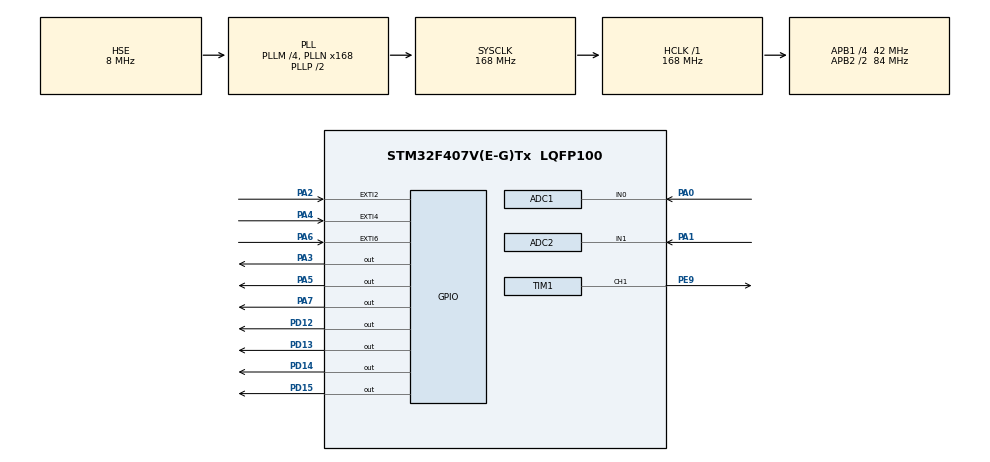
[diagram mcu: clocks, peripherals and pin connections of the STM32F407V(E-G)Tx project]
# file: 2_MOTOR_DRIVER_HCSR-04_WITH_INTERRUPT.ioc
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ADC1.Channel-0\#ChannelRegularConversion=ADC_CHANNEL_0
ADC1.NbrOfConversionFlag=1
ADC1.Rank-0\#ChannelRegularConversion=1
ADC1.SamplingTime-0\#ChannelRegularConversion=ADC_SAMPLETIME_3CYCLES
ADC1.master=1
ADC2.Channel-0\#ChannelRegularConversion=ADC_CHANNEL_1
ADC2.NbrOfConversionFlag=1
ADC2.Rank-0\#ChannelRegularConversion=1
ADC2.SamplingTime-0\#ChannelRegularConversion=ADC_SAMPLETIME_3CYCLES
Mcu.Family=STM32F4
Mcu.Name=STM32F407V(E-G)Tx
Mcu.Package=LQFP100
NVIC.EXTI4_IRQn=true\:1\:0\:true\:false\:true\:true\:true\:true
NVIC.EXTI9_5_IRQn=true\:0\:0\:false\:false\:true\:true\:true\:true
NVIC.PriorityGroup=NVIC_PRIORITYGROUP_4
PA0-WKUP.Signal=ADCx_IN0
PA1.Signal=ADCx_IN1
PA2.Signal=GPXTI2
PA3.Signal=GPIO_Output
PA4.GPIO_PuPd=GPIO_PULLDOWN
PA4.Signal=GPXTI4
PA5.Signal=GPIO_Output
PA6.GPIO_PuPd=GPIO_PULLDOWN
PA6.Signal=GPXTI6
PA7.Signal=GPIO_Output
PD12.GPIO_Speed=GPIO_SPEED_FREQ_VERY_HIGH
PD12.Signal=GPIO_Output
PD13.GPIO_Speed=GPIO_SPEED_FREQ_VERY_HIGH
PD13.Signal=GPIO_Output
PD14.GPIO_Speed=GPIO_SPEED_FREQ_VERY_HIGH
PD14.Signal=GPIO_Output
PD15.GPIO_Speed=GPIO_SPEED_FREQ_VERY_HIGH
PD15.Signal=GPIO_Output
PE9.GPIO_Speed=GPIO_SPEED_FREQ_VERY_HIGH
PE9.Signal=S_TIM1_CH1
PH0-OSC_IN.Mode=HSE-External-Oscillator
PH0-OSC_IN.Signal=RCC_OSC_IN
PH1-OSC_OUT.Mode=HSE-External-Oscillator
PH1-OSC_OUT.Signal=RCC_OSC_OUT
ProjectManager.HeapSize=0x200
ProjectManager.StackSize=0x400
ProjectManager.TargetToolchain=STM32CubeIDE
RCC.48MHZClocksFreq_Value=84000000
RCC.AHBFreq_Value=168000000
RCC.APB1CLKDivider=RCC_HCLK_DIV4
RCC.APB1Freq_Value=42000000
RCC.APB1TimFreq_Value=84000000
RCC.APB2CLKDivider=RCC_HCLK_DIV2
RCC.APB2Freq_Value=84000000
RCC.APB2TimFreq_Value=168000000
RCC.CortexFreq_Value=168000000
RCC.HCLKFreq_Value=168000000
RCC.HSE_VALUE=8000000
RCC.HSI_VALUE=16000000
RCC.LSE_VALUE=32768
RCC.PLLM=4
RCC.PLLN=168
RCC.PLLSourceVirtual=RCC_PLLSOURCE_HSE
RCC.SYSCLKFreq_VALUE=168000000
RCC.SYSCLKSource=RCC_SYSCLKSOURCE_PLLCLK
RCC.VCOOutputFreq_Value=336000000
SH.ADCx_IN0.0=ADC1_IN0,IN0
SH.ADCx_IN1.0=ADC2_IN1,IN1
SH.S_TIM1_CH1.0=TIM1_CH1,PWM Generation1 CH1
TIM1.Channel-PWM\ Generation1\ CH1=TIM_CHANNEL_1
TIM1.Period=999
TIM1.Prescaler=8399
board=custom

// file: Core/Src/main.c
/* USER CODE BEGIN Header */
/**
  ******************************************************************************
  * @file           : main.c
  * @brief          : Main program body
  ******************************************************************************
  * @attention
  *
  * Copyright (c) 2023 STMicroelectronics.
  * All rights reserved.
  *
  * This software is licensed under terms that can be found in the LICENSE file
  * in the root directory of this software component.
  * If no LICENSE file comes with this software, it is provided AS-IS.
  *
  ******************************************************************************
  */
/* USER CODE END Header */
#include "main.h"
#include "dwt_delay.h"

/* USER CODE BEGIN Includes */

uint32_t adc_value_1;
uint32_t pulse;

uint32_t adc_value_2;

uint32_t mytime_1;
uint16_t distance_1;

uint32_t mytime_2;
uint16_t distance_2;

uint32_t mytime_3;
uint16_t distance_3;

#define GND_MOT_1 GPIO_PIN_12
#define VCC_MOT_1 GPIO_PIN_13
#define VCC_MOT_2 GPIO_PIN_14
#define GND_MOT_2 GPIO_PIN_15

/* USER CODE END Includes */

ADC_HandleTypeDef hadc1;
ADC_HandleTypeDef hadc2;

TIM_HandleTypeDef htim1;

void SystemClock_Config(void);
static void MX_GPIO_Init(void);
static void MX_ADC1_Init(void);
static void MX_ADC2_Init(void);
static void MX_TIM1_Init(void);

/* USER CODE BEGIN 0 */

uint32_t read_hcsr04_1()
{

	uint32_t local_time_1=0;

	HAL_GPIO_WritePin(GPIOA, GPIO_PIN_5, ENABLE);
	DWT_Delay(10);
	HAL_GPIO_WritePin(GPIOA, GPIO_PIN_5, RESET);

	while(!HAL_GPIO_ReadPin(GPIOA,GPIO_PIN_4 ));

	while(HAL_GPIO_ReadPin(GPIOA, GPIO_PIN_4))
	{
		local_time_1++;
		DWT_Delay(1);

	}

	return local_time_1;

}
uint32_t read_hcsr04_2()
{

	uint32_t local_time_2=0;

	HAL_GPIO_WritePin(GPIOA, GPIO_PIN_7, ENABLE);
	DWT_Delay(10);
	HAL_GPIO_WritePin(GPIOA, GPIO_PIN_7, RESET);

	while(!HAL_GPIO_ReadPin(GPIOA,GPIO_PIN_6 ));

	while(HAL_GPIO_ReadPin(GPIOA, GPIO_PIN_6))
	{
		local_time_2++;
		DWT_Delay(1);

	}

	return local_time_2;

}
uint32_t read_hcsr04_3()
{

	uint32_t local_time_3=0;

	HAL_GPIO_WritePin(GPIOA, GPIO_PIN_3, ENABLE);
	DWT_Delay(10);
	HAL_GPIO_WritePin(GPIOA, GPIO_PIN_3, RESET);

	while(!HAL_GPIO_ReadPin(GPIOA,GPIO_PIN_2 ));

	while(HAL_GPIO_ReadPin(GPIOA, GPIO_PIN_2))
	{
		local_time_3++;
		DWT_Delay(1);

	}

	return local_time_3;

}

void ADC_Read_1()
{

	HAL_ADC_Start(&hadc1);

	if(HAL_ADC_PollForConversion(&hadc1, 10000)== HAL_OK)
	{

		adc_value_1 = HAL_ADC_GetValue(&hadc1);

	}

	HAL_ADC_Stop(&hadc1);

}

void ADC_Read_2()
{

	HAL_ADC_Start(&hadc2);

		if(HAL_ADC_PollForConversion(&hadc2, 10000)== HAL_OK)
		{

			adc_value_2 = HAL_ADC_GetValue(&hadc2);

		}

		HAL_ADC_Stop(&hadc2);

}

uint16_t map(int In, int Inmin, int Inmax, int Outmin, int Outmax)
{

	return (In-Inmin)*(Outmax-Outmin)/(Inmax-Inmin)+Outmin;
}

void Motor_Init()
{

	HAL_GPIO_WritePin(GPIOD, GPIO_PIN_12, GPIO_PIN_RESET);
	HAL_GPIO_WritePin(GPIOD, GPIO_PIN_13, GPIO_PIN_RESET);
	HAL_GPIO_WritePin(GPIOD, GPIO_PIN_15, GPIO_PIN_RESET);
	HAL_GPIO_WritePin(GPIOD, GPIO_PIN_14, GPIO_PIN_RESET);

}

void Stop_Motor()
{
	HAL_GPIO_WritePin(GPIOD, GPIO_PIN_12, GPIO_PIN_RESET);
	HAL_GPIO_WritePin(GPIOD, GPIO_PIN_13, GPIO_PIN_RESET);
	HAL_GPIO_WritePin(GPIOD, GPIO_PIN_15, GPIO_PIN_RESET);
	HAL_GPIO_WritePin(GPIOD, GPIO_PIN_14, GPIO_PIN_RESET);

}

void Backward_Motor_1()
{

	HAL_GPIO_WritePin(GPIOD, GPIO_PIN_12, GPIO_PIN_SET);
	HAL_GPIO_WritePin(GPIOD, GPIO_PIN_13, GPIO_PIN_RESET);
	HAL_GPIO_WritePin(GPIOD, GPIO_PIN_15, GPIO_PIN_RESET);
	HAL_GPIO_WritePin(GPIOD, GPIO_PIN_14, GPIO_PIN_RESET);

}

void Forward_Motor_1()
{
	HAL_GPIO_WritePin(GPIOD, GPIO_PIN_12, GPIO_PIN_RESET);
	HAL_GPIO_WritePin(GPIOD, GPIO_PIN_13, GPIO_PIN_SET);
	HAL_GPIO_WritePin(GPIOD, GPIO_PIN_15, GPIO_PIN_RESET);
	HAL_GPIO_WritePin(GPIOD, GPIO_PIN_14, GPIO_PIN_RESET);

}

void Backward_Motor_2()
{
	HAL_GPIO_WritePin(GPIOD, GPIO_PIN_12, GPIO_PIN_RESET);
	HAL_GPIO_WritePin(GPIOD, GPIO_PIN_13, GPIO_PIN_RESET);
	HAL_GPIO_WritePin(GPIOD, GPIO_PIN_15, GPIO_PIN_SET);
	HAL_GPIO_WritePin(GPIOD, GPIO_PIN_14, GPIO_PIN_RESET);

}

void Forward_Motor_2()
{
	HAL_GPIO_WritePin(GPIOD, GPIO_PIN_12, GPIO_PIN_RESET);
	HAL_GPIO_WritePin(GPIOD, GPIO_PIN_13, GPIO_PIN_RESET);
	HAL_GPIO_WritePin(GPIOD, GPIO_PIN_15, GPIO_PIN_RESET);
	HAL_GPIO_WritePin(GPIOD, GPIO_PIN_14, GPIO_PIN_SET);

}

void Backward_Motor_Both()
{
	HAL_GPIO_WritePin(GPIOD, GPIO_PIN_12, GPIO_PIN_SET);
	HAL_GPIO_WritePin(GPIOD, GPIO_PIN_13, GPIO_PIN_RESET);
	HAL_GPIO_WritePin(GPIOD, GPIO_PIN_15, GPIO_PIN_SET);
	HAL_GPIO_WritePin(GPIOD, GPIO_PIN_14, GPIO_PIN_RESET);

}

void Forward_Motor_Both()
{

	HAL_GPIO_WritePin(GPIOD, GPIO_PIN_12, GPIO_PIN_RESET);
	HAL_GPIO_WritePin(GPIOD, GPIO_PIN_13, GPIO_PIN_SET);
	HAL_GPIO_WritePin(GPIOD, GPIO_PIN_15, GPIO_PIN_RESET);
	HAL_GPIO_WritePin(GPIOD, GPIO_PIN_14, GPIO_PIN_SET);

}

/* USER CODE END 0 */

int main(void)
{

  /* MCU Configuration--------------------------------------------------------*/

  /* Reset of all peripherals, Initializes the Flash interface and the Systick. */
  HAL_Init();

  /* Configure the system clock */
  SystemClock_Config();

  /* Initialize all configured peripherals */
  MX_GPIO_Init();
  MX_ADC1_Init();
  MX_ADC2_Init();
  MX_TIM1_Init();
  /* USER CODE BEGIN 2 */

  DWT_Init();

  Motor_Init();

   HAL_TIM_PWM_Start(&htim1, TIM_CHANNEL_1);

  /* USER CODE END 2 */

  /* Infinite loop */
  while (1)
  {

	      mytime_1= read_hcsr04_1();
	 	  distance_1 = mytime_1/58;

	 	  mytime_2= read_hcsr04_2();
	 	  distance_2 = mytime_2/58;

	 	  mytime_3= read_hcsr04_3();
	 	  distance_3 = mytime_3/58;

	 	   void HAL_GPIO_EXTI_Callback(uint16_t GPIO_Pin)
	 	   {

	 		   if(HAL_GPIO_ReadPin(GPIOA, GPIO_PIN_6) && distance_2 < 5)
	 		   {

	 			   if(distance_1 > 5 && distance_3 > 5 )
	 			   {

	 				                  Backward_Motor_Both();

	 				  	 	 		  HAL_Delay(2000);

	 				  	 	 		  Forward_Motor_1();

	 				  	 	 		  HAL_Delay(2000);

	 				  	 	 		  Forward_Motor_Both();

	 				  	 	 		  HAL_Delay(2000);

	 				  	 	 		  Forward_Motor_2();

	 				  	 	 		  HAL_Delay(2000);

	 				  	 	 		  Forward_Motor_Both();

	 				  	 	 		  HAL_Delay(2000);

	 				  	 	 		  Forward_Motor_2();

	 				  	 	 		  HAL_Delay(2000);

	 				  	 	 		  Forward_Motor_Both();

	 				  	 	 		  HAL_Delay(2000);

	 				  	 	 		  Forward_Motor_1();

	 				  	 	 		  HAL_Delay(2000);

	 				  	 	 		  Forward_Motor_Both();

	 			   }

	 			   else if(distance_1 > 5 && distance_3 < 5)
	 			   {

	 				                 Backward_Motor_Both();

	 					 	 		  HAL_Delay(2000);

	 					 	 		  Forward_Motor_2();

	 					 	 		  HAL_Delay(2000);

	 					 	 		  Forward_Motor_Both();

	 					 	 		  HAL_Delay(2000);

	 					 	 		  Forward_Motor_1();

	 					 	 		  HAL_Delay(2000);

	 					 	 		  Forward_Motor_Both();

	 					 	 		 HAL_Delay(2000);

	 					 	 		  Forward_Motor_1();

	 					 	 		  HAL_Delay(2000);

	 					 	 		  Forward_Motor_Both();

	 					 	 		  HAL_Delay(2000);

	 					 	 		  Forward_Motor_2();

	 					 	 		  HAL_Delay(2000);

	 					 	 		  Forward_Motor_Both();

	 			   }

	 			   else if(distance_1 < 5 && distance_3 > 5)
	 			   {

	 				                 Backward_Motor_Both();

	 				 	 	 		  HAL_Delay(2000);

	 				 	 	 		  Forward_Motor_1();

	 				 	 	 		  HAL_Delay(2000);

	 				 	 	 		  Forward_Motor_Both();

	 				 	 	 		  HAL_Delay(2000);

	 				 	 	 		  Forward_Motor_2();

	 				 	 	 		  HAL_Delay(2000);

	 				 	 	 		  Forward_Motor_Both();

	 				 	 	 		  HAL_Delay(2000);

	 				 	 	 		  Forward_Motor_2();

	 				 	 	 		  HAL_Delay(2000);

	 				 	 	 		  Forward_Motor_Both();

	 				 	 	 		  HAL_Delay(2000);

	 				 	 	 		  Forward_Motor_1();

	 				 	 	 		  HAL_Delay(2000);

	 				 	 	 		  Forward_Motor_Both();

	 			   }

	 			   else if(distance_1 < 5 && distance_3 < 5)
	 			   {

	 				                 Backward_Motor_Both();

	 				  	 	 		  HAL_Delay(2000);

	 				  	 	 		  Forward_Motor_1();

	 				  	 	 		  HAL_Delay(2000);

	 				  	 	 		  Forward_Motor_Both();

	 				  	 	 		  HAL_Delay(2000);

	 				  	 	 		  Forward_Motor_2();

	 				  	 	 		  HAL_Delay(2000);

	 				  	 	 		  Forward_Motor_Both();

	 				  	 	 		  HAL_Delay(7000);

	 				  	 	 		  Forward_Motor_2();

	 				  	 	 		  HAL_Delay(2000);

	 				  	 	 		  Forward_Motor_Both();

	 				  	 	 		  HAL_Delay(2000);

	 				  	 	 		  Forward_Motor_1();

	 				  	 	 		  HAL_Delay(2000);

	 				  	 	 		  Forward_Motor_Both();

	 			   }

	 		   }

	 	   }

	 	  if(distance_1 > 5 && distance_2 > 5 && distance_3 > 5 )
	 	 	  {

	 	 		  Forward_Motor_Both();

	 	 	  }

	 	 	  else if(distance_1 > 5 && distance_2 > 5 && distance_3 < 5 )
	 	 	  {

	 	 		  Forward_Motor_Both();

	 	 	  }

	 	 	  else if(distance_1 < 5 && distance_2 > 5 && distance_3 > 5)
	 	 	  {

	 	 		  Forward_Motor_Both();

	 	 	  }

	 	 	  else if(distance_1 < 5 && distance_2 > 5 && distance_3 < 5)
	 	 	  {

	 	 		  Forward_Motor_Both();

	 	 	  }

	 	 	  else if(distance_1 > 5 && distance_2 < 5 && distance_3 > 5)
	 	 	  {

	 	 		  Backward_Motor_Both();

	 	 		  HAL_Delay(2000);

	 	 		  Forward_Motor_1();

	 	 		  HAL_Delay(2000);

	 	 		  Forward_Motor_Both();

	 	 		  HAL_Delay(2000);

	 	 		  Forward_Motor_2();

	 	 		  HAL_Delay(2000);

	 	 		  Forward_Motor_Both();

	 	 		  HAL_Delay(2000);

	 	 		  Forward_Motor_2();

	 	 		  HAL_Delay(2000);

	 	 		  Forward_Motor_Both();

	 	 		  HAL_Delay(2000);

	 	 		  Forward_Motor_1();

	 	 		  HAL_Delay(2000);

	 	 		  Forward_Motor_Both();

	 	 	  }

	 	 	  else if(distance_1 > 5 && distance_2 < 5 && distance_3 < 5)
	 	 	  {

	 	 		  Backward_Motor_Both();

	 	 		  HAL_Delay(2000);

	 	 		  Forward_Motor_2();

	 	 		  HAL_Delay(2000);

	 	 		  Forward_Motor_Both();

	 	 		  HAL_Delay(2000);

	 	 		  Forward_Motor_1();

	 	 		  HAL_Delay(2000);

	 	 		  Forward_Motor_Both();

	 	 		 HAL_Delay(2000);

	 	 		  Forward_Motor_1();

	 	 		  HAL_Delay(2000);

	 	 		  Forward_Motor_Both();

	 	 		  HAL_Delay(2000);

	 	 		  Forward_Motor_2();

	 	 		  HAL_Delay(2000);

	 	 		  Forward_Motor_Both();

	 	 	  }

	 	 	  else if(distance_1 < 5 && distance_2 < 5 && distance_3 > 5)
	 	 	  {

	 	 		  Backward_Motor_Both();

	 	 		  HAL_Delay(2000);

	 	 		  Forward_Motor_1();

	 	 		  HAL_Delay(2000);

	 	 		  Forward_Motor_Both();

	 	 		  HAL_Delay(2000);

	 	 		  Forward_Motor_2();

	 	 		  HAL_Delay(2000);

	 	 		  Forward_Motor_Both();

	 	 		  HAL_Delay(2000);

	 	 		  Forward_Motor_2();

	 	 		  HAL_Delay(2000);

	 	 		  Forward_Motor_Both();

	 	 		  HAL_Delay(2000);

	 	 		  Forward_Motor_1();

	 	 		  HAL_Delay(2000);

	 	 		  Forward_Motor_Both();

	 	 	  }

	 	 	  else if(distance_1 < 5 && distance_2 < 5 && distance_3 < 5)
	 	 	  {
	 	 		  Backward_Motor_Both();

	 	 		  HAL_Delay(2000);

	 	 		  Forward_Motor_1();

	 	 		  HAL_Delay(2000);

	 	 		  Forward_Motor_Both();

	 	 		  HAL_Delay(2000);

	 	 		  Forward_Motor_2();

	 	 		  HAL_Delay(2000);

	 	 		  Forward_Motor_Both();

	 	 		  HAL_Delay(7000);

	 	 		  Forward_Motor_2();

	 	 		  HAL_Delay(2000);

	 	 		  Forward_Motor_Both();

	 	 		  HAL_Delay(2000);

	 	 		  Forward_Motor_1();

	 	 		  HAL_Delay(2000);

	 	 		  Forward_Motor_Both();

	 	 	  }

  }
}

void SystemClock_Config(void)
{
  RCC_OscInitTypeDef RCC_OscInitStruct = {0};
  RCC_ClkInitTypeDef RCC_ClkInitStruct = {0};

  /** Configure the main internal regulator output voltage
  */
  __HAL_RCC_PWR_CLK_ENABLE();
  __HAL_PWR_VOLTAGESCALING_CONFIG(PWR_REGULATOR_VOLTAGE_SCALE1);

  /** Initializes the RCC Oscillators according to the specified parameters
  * in the RCC_OscInitTypeDef structure.
  */
  RCC_OscInitStruct.OscillatorType = RCC_OSCILLATORTYPE_HSE;
  RCC_OscInitStruct.HSEState = RCC_HSE_ON;
  RCC_OscInitStruct.PLL.PLLState = RCC_PLL_ON;
  RCC_OscInitStruct.PLL.PLLSource = RCC_PLLSOURCE_HSE;
  RCC_OscInitStruct.PLL.PLLM = 4;
  RCC_OscInitStruct.PLL.PLLN = 168;
  RCC_OscInitStruct.PLL.PLLP = RCC_PLLP_DIV2;
  RCC_OscInitStruct.PLL.PLLQ = 4;
  if (HAL_RCC_OscConfig(&RCC_OscInitStruct) != HAL_OK)
  {
    Error_Handler();
  }

  /** Initializes the CPU, AHB and APB buses clocks
  */
  RCC_ClkInitStruct.ClockType = RCC_CLOCKTYPE_HCLK|RCC_CLOCKTYPE_SYSCLK
                              |RCC_CLOCKTYPE_PCLK1|RCC_CLOCKTYPE_PCLK2;
  RCC_ClkInitStruct.SYSCLKSource = RCC_SYSCLKSOURCE_PLLCLK;
  RCC_ClkInitStruct.AHBCLKDivider = RCC_SYSCLK_DIV1;
  RCC_ClkInitStruct.APB1CLKDivider = RCC_HCLK_DIV4;
  RCC_ClkInitStruct.APB2CLKDivider = RCC_HCLK_DIV2;

  if (HAL_RCC_ClockConfig(&RCC_ClkInitStruct, FLASH_LATENCY_5) != HAL_OK)
  {
    Error_Handler();
  }
}

static void MX_ADC1_Init(void)
{

  ADC_ChannelConfTypeDef sConfig = {0};

  /** Configure the global features of the ADC (Clock, Resolution, Data Alignment and number of conversion)
  */
  hadc1.Instance = ADC1;
  hadc1.Init.ClockPrescaler = ADC_CLOCK_SYNC_PCLK_DIV4;
  hadc1.Init.Resolution = ADC_RESOLUTION_12B;
  hadc1.Init.ScanConvMode = DISABLE;
  hadc1.Init.ContinuousConvMode = DISABLE;
  hadc1.Init.DiscontinuousConvMode = DISABLE;
  hadc1.Init.ExternalTrigConvEdge = ADC_EXTERNALTRIGCONVEDGE_NONE;
  hadc1.Init.ExternalTrigConv = ADC_SOFTWARE_START;
  hadc1.Init.DataAlign = ADC_DATAALIGN_RIGHT;
  hadc1.Init.NbrOfConversion = 1;
  hadc1.Init.DMAContinuousRequests = DISABLE;
  hadc1.Init.EOCSelection = ADC_EOC_SINGLE_CONV;
  if (HAL_ADC_Init(&hadc1) != HAL_OK)
  {
    Error_Handler();
  }

  /** Configure for the selected ADC regular channel its corresponding rank in the sequencer and its sample time.
  */
  sConfig.Channel = ADC_CHANNEL_0;
  sConfig.Rank = 1;
  sConfig.SamplingTime = ADC_SAMPLETIME_3CYCLES;
  if (HAL_ADC_ConfigChannel(&hadc1, &sConfig) != HAL_OK)
  {
    Error_Handler();
  }

}

static void MX_ADC2_Init(void)
{

  ADC_ChannelConfTypeDef sConfig = {0};

  /** Configure the global features of the ADC (Clock, Resolution, Data Alignment and number of conversion)
  */
  hadc2.Instance = ADC2;
  hadc2.Init.ClockPrescaler = ADC_CLOCK_SYNC_PCLK_DIV4;
  hadc2.Init.Resolution = ADC_RESOLUTION_12B;
  hadc2.Init.ScanConvMode = DISABLE;
  hadc2.Init.ContinuousConvMode = DISABLE;
  hadc2.Init.DiscontinuousConvMode = DISABLE;
  hadc2.Init.ExternalTrigConvEdge = ADC_EXTERNALTRIGCONVEDGE_NONE;
  hadc2.Init.ExternalTrigConv = ADC_SOFTWARE_START;
  hadc2.Init.DataAlign = ADC_DATAALIGN_RIGHT;
  hadc2.Init.NbrOfConversion = 1;
  hadc2.Init.DMAContinuousRequests = DISABLE;
  hadc2.Init.EOCSelection = ADC_EOC_SINGLE_CONV;
  if (HAL_ADC_Init(&hadc2) != HAL_OK)
  {
    Error_Handler();
  }

  /** Configure for the selected ADC regular channel its corresponding rank in the sequencer and its sample time.
  */
  sConfig.Channel = ADC_CHANNEL_1;
  sConfig.Rank = 1;
  sConfig.SamplingTime = ADC_SAMPLETIME_3CYCLES;
  if (HAL_ADC_ConfigChannel(&hadc2, &sConfig) != HAL_OK)
  {
    Error_Handler();
  }

}

static void MX_TIM1_Init(void)
{

  TIM_MasterConfigTypeDef sMasterConfig = {0};
  TIM_OC_InitTypeDef sConfigOC = {0};
  TIM_BreakDeadTimeConfigTypeDef sBreakDeadTimeConfig = {0};

  htim1.Instance = TIM1;
  htim1.Init.Prescaler = 8399;
  htim1.Init.CounterMode = TIM_COUNTERMODE_UP;
  htim1.Init.Period = 999;
  htim1.Init.ClockDivision = TIM_CLOCKDIVISION_DIV1;
  htim1.Init.RepetitionCounter = 0;
  htim1.Init.AutoReloadPreload = TIM_AUTORELOAD_PRELOAD_DISABLE;
  if (HAL_TIM_PWM_Init(&htim1) != HAL_OK)
  {
    Error_Handler();
  }
  sMasterConfig.MasterOutputTrigger = TIM_TRGO_RESET;
  sMasterConfig.MasterSlaveMode = TIM_MASTERSLAVEMODE_DISABLE;
  if (HAL_TIMEx_MasterConfigSynchronization(&htim1, &sMasterConfig) != HAL_OK)
  {
    Error_Handler();
  }
  sConfigOC.OCMode = TIM_OCMODE_PWM1;
  sConfigOC.Pulse = 0;
  sConfigOC.OCPolarity = TIM_OCPOLARITY_HIGH;
  sConfigOC.OCNPolarity = TIM_OCNPOLARITY_HIGH;
  sConfigOC.OCFastMode = TIM_OCFAST_DISABLE;
  sConfigOC.OCIdleState = TIM_OCIDLESTATE_RESET;
  sConfigOC.OCNIdleState = TIM_OCNIDLESTATE_RESET;
  if (HAL_TIM_PWM_ConfigChannel(&htim1, &sConfigOC, TIM_CHANNEL_1) != HAL_OK)
  {
    Error_Handler();
  }
  sBreakDeadTimeConfig.OffStateRunMode = TIM_OSSR_DISABLE;
  sBreakDeadTimeConfig.OffStateIDLEMode = TIM_OSSI_DISABLE;
  sBreakDeadTimeConfig.LockLevel = TIM_LOCKLEVEL_OFF;
  sBreakDeadTimeConfig.DeadTime = 0;
  sBreakDeadTimeConfig.BreakState = TIM_BREAK_DISABLE;
  sBreakDeadTimeConfig.BreakPolarity = TIM_BREAKPOLARITY_HIGH;
  sBreakDeadTimeConfig.AutomaticOutput = TIM_AUTOMATICOUTPUT_DISABLE;
  if (HAL_TIMEx_ConfigBreakDeadTime(&htim1, &sBreakDeadTimeConfig) != HAL_OK)
  {
    Error_Handler();
  }
  HAL_TIM_MspPostInit(&htim1);

}

static void MX_GPIO_Init(void)
{
  GPIO_InitTypeDef GPIO_InitStruct = {0};

  /* GPIO Ports Clock Enable */
  __HAL_RCC_GPIOH_CLK_ENABLE();
  __HAL_RCC_GPIOA_CLK_ENABLE();
  __HAL_RCC_GPIOE_CLK_ENABLE();
  __HAL_RCC_GPIOD_CLK_ENABLE();

  /*Configure GPIO pin Output Level */
  HAL_GPIO_WritePin(GPIOA, GPIO_PIN_3|GPIO_PIN_5|GPIO_PIN_7, GPIO_PIN_RESET);

  /*Configure GPIO pin Output Level */
  HAL_GPIO_WritePin(GPIOD, GPIO_PIN_12|GPIO_PIN_13|GPIO_PIN_14|GPIO_PIN_15, GPIO_PIN_RESET);

  /*Configure GPIO pin : PA2 */
  GPIO_InitStruct.Pin = GPIO_PIN_2;
  GPIO_InitStruct.Mode = GPIO_MODE_IT_RISING;
  GPIO_InitStruct.Pull = GPIO_NOPULL;
  HAL_GPIO_Init(GPIOA, &GPIO_InitStruct);

  /*Configure GPIO pins : PA3 PA5 PA7 */
  GPIO_InitStruct.Pin = GPIO_PIN_3|GPIO_PIN_5|GPIO_PIN_7;
  GPIO_InitStruct.Mode = GPIO_MODE_OUTPUT_PP;
  GPIO_InitStruct.Pull = GPIO_NOPULL;
  GPIO_InitStruct.Speed = GPIO_SPEED_FREQ_LOW;
  HAL_GPIO_Init(GPIOA, &GPIO_InitStruct);

  /*Configure GPIO pins : PA4 PA6 */
  GPIO_InitStruct.Pin = GPIO_PIN_4|GPIO_PIN_6;
  GPIO_InitStruct.Mode = GPIO_MODE_IT_RISING;
  GPIO_InitStruct.Pull = GPIO_PULLDOWN;
  HAL_GPIO_Init(GPIOA, &GPIO_InitStruct);

  /*Configure GPIO pins : PD12 PD13 PD14 PD15 */
  GPIO_InitStruct.Pin = GPIO_PIN_12|GPIO_PIN_13|GPIO_PIN_14|GPIO_PIN_15;
  GPIO_InitStruct.Mode = GPIO_MODE_OUTPUT_PP;
  GPIO_InitStruct.Pull = GPIO_NOPULL;
  GPIO_InitStruct.Speed = GPIO_SPEED_FREQ_VERY_HIGH;
  HAL_GPIO_Init(GPIOD, &GPIO_InitStruct);

  /* EXTI interrupt init*/
  HAL_NVIC_SetPriority(EXTI4_IRQn, 1, 0);
  HAL_NVIC_EnableIRQ(EXTI4_IRQn);

  HAL_NVIC_SetPriority(EXTI9_5_IRQn, 0, 0);
  HAL_NVIC_EnableIRQ(EXTI9_5_IRQn);

}

void Error_Handler(void)
{
  __disable_irq();
  while (1)
  {
  }
}
